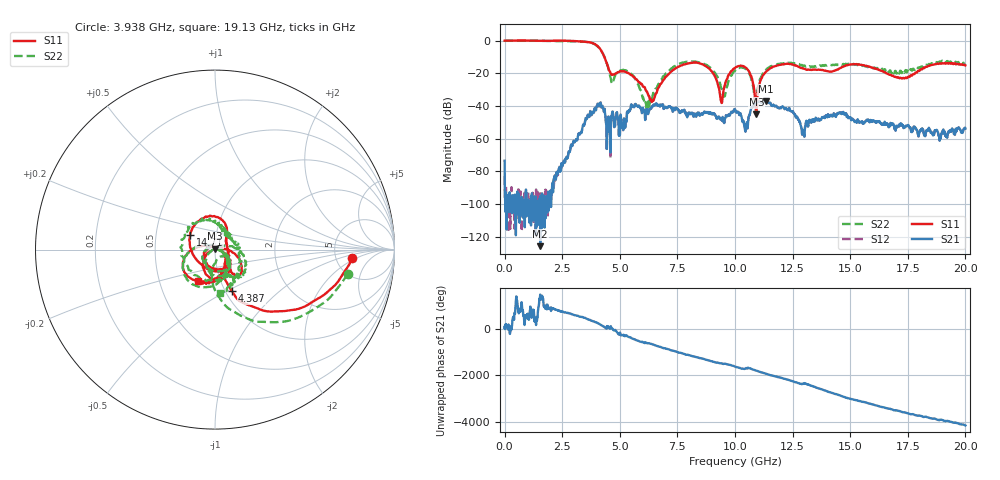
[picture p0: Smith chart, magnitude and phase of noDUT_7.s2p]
#  HZ  S  RI  R  50.00
! Rohde & Schwarz Vector Network Analyzer
! Rohde-Schwarz,ZNB20-2Port,1311601062102128,3.60
! Created: UTC 4/29/2024, 3:50:06 PM
! freq[Hz]  re:S11  im:S11  re:S21  im:S21  re:S12  im:S12  re:S22  im:S22
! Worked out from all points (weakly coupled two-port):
!   2007 points, 100 kHz to 20 GHz, reference 50 ohm
!   highest |S21| = -37.07 dB at 11.35 GHz (marker M1); lowest = -125.9 dB at 1.545 GHz (marker M2)
!   lowest |S11| = -45.1 dB at 10.93 GHz (marker M3), VSWR 1.01, Z = 50.1 + j0.542 ohm
!   |S11| at or under -10 dB: 4.333 GHz to end of sweep
!   |S22| runs from -42.9 to 0.1 dB; largest |S21 - S12| = 0.00079
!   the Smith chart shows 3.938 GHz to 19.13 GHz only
!   S11 on the Smith chart (normalised r, x): 3.938 GHz: 7.18, -1.61; 4.387 GHz: 1.07, -0.53; 14.71 GHz: 0.75, +0.13; 19.13 GHz: 0.78, -0.29
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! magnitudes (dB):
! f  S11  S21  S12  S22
! 100 kHz  0.0  -73.5  -83.2  0.1
! 1.545 GHz  -0.1  -125.9  -98.2  -0.1
! 2.353 GHz  0.0  -79.1  -78.4  -0.3
! 3.34 GHz  -0.6  -56.5  -56.1  -0.6
! 3.938 GHz  -2.3  -41.4  -41.0  -2.5
! 4.387 GHz  -12.1  -47.6  -47.5  -11.8
! 4.666 GHz  -20.9  -44.6  -44.6  -26.0
! 5.533 GHz  -21.4  -40.2  -40.2  -20.9
! 6.182 GHz  -31.3  -42.6  -42.6  -42.9
! 6.67 GHz  -28.9  -39.4  -39.5  -26.6
! 8.345 GHz  -13.5  -44.9  -44.9  -13.0
! 9.422 GHz  -38.2  -48.3  -48.5  -29.5
! 10 GHz  -16.7  -42.2  -42.1  -18.4
! 10.47 GHz  -16.5  -54.6  -54.6  -17.3
! 10.93 GHz  -45.1  -38.5  -38.5  -38.0
! 11.35 GHz  -19.1  -37.1  -37.1  -17.9
! 12.94 GHz  -16.9  -56.0  -55.9  -15.5
! 13.34 GHz  -17.9  -48.4  -48.4  -15.8
! 14.71 GHz  -15.9  -43.8  -43.7  -14.3
! 16.67 GHz  -20.7  -52.9  -52.9  -19.4
! 19.13 GHz  -14.0  -58.4  -58.4  -12.2
! 20 GHz  -15.2  -53.9  -53.7  -14.4
